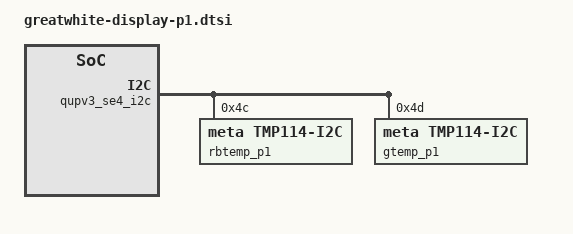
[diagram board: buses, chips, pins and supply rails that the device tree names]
&qupv3_se4_i2c {
    rbtemp_p1:tmp114@4C {
        compatible = "meta,tmp114-i2c";
        reg = <0x4C>;
        status = "ok";

        pmic-supply = "pmicOP03010";
        #thermal-sensor-cells = <0>;
    };

    gtemp_p1:tmp114@4D {
        compatible = "meta,tmp114-i2c";
        reg = <0x4D>;
        status = "ok";

        pmic-supply = "pmicOP03010";
        #thermal-sensor-cells = <0>;
    };
};

&thermal_zones {
    display-boardtemp {
        status = "disabled";
    };

    display-gtemp {
        thermal-sensors = <&gtemp_p1 0>;
    };

    display-rbtemp {
        thermal-sensors = <&rbtemp_p1 0>;
    };
};

&rbtemp {
    status = "disabled";
};

&gtemp {
    status = "disabled";
};

&dispboardtemp {
    status = "disabled";
};

&leddriver {
    leddondof-gpio = <&tlmm 80 GPIO_ACTIVE_HIGH>;
    interpolation-coeffs-high-res = <10000 82>;
    interpolation-coeffs-low-res = <324010 2238>;
};
